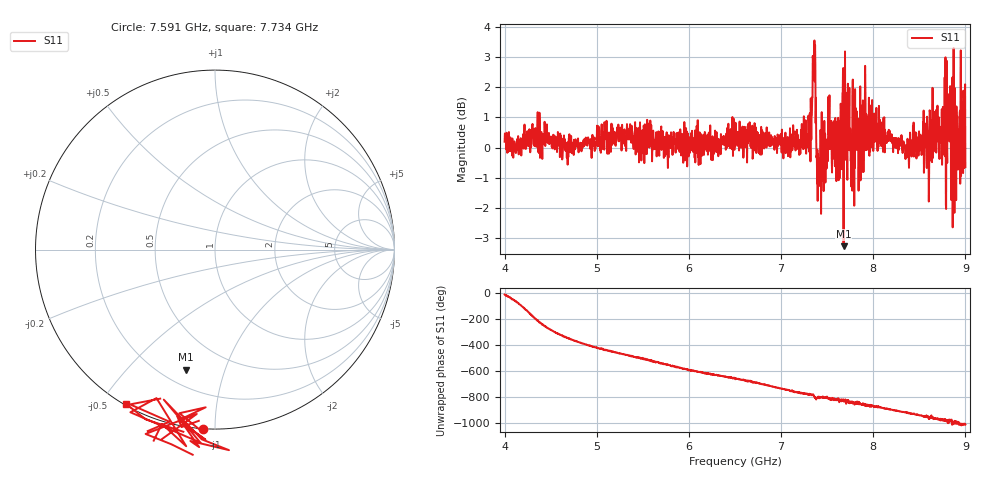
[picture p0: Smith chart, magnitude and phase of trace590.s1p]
! Created with skrf 1.8.0 (http://scikit-rf.org).
# Hz S RI R 50.0
!freq ReS11 ImS11
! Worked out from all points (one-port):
!   1601 points, 4 GHz to 9 GHz, reference 50 ohm
!   lowest |S11| = -3.3 dB at 7.678 GHz (marker M1), VSWR 5.39, Z = 14.7 - j37.3 ohm
!   |S11| at or under -10 dB: nowhere
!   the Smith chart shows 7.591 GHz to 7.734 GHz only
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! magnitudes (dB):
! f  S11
! 4 GHz  0.2
! 4.625 GHz  -0.4
! 5.25 GHz  0.6
! 5.875 GHz  0.1
! 6.5 GHz  0.3
! 7.125 GHz  0.0
! 7.294 GHz  0.0
! 7.316 GHz  0.6
! 7.347 GHz  2.9
! 7.369 GHz  3.4
! 7.397 GHz  -1.8
! 7.409 GHz  -1.3
! 7.522 GHz  1.1
! 7.609 GHz  -0.1
! 7.669 GHz  1.8
! 7.678 GHz  -3.3
! 7.75 GHz  0.6
! 7.775 GHz  1.7
! 7.8 GHz  -0.7
! 7.859 GHz  2.0
! 7.928 GHz  1.0
! 7.981 GHz  0.0
! 8.375 GHz  0.2
! 8.766 GHz  0.8
! 8.819 GHz  0.8
! 8.9 GHz  -1.7
! 8.972 GHz  0.5
! 9 GHz  -0.6
